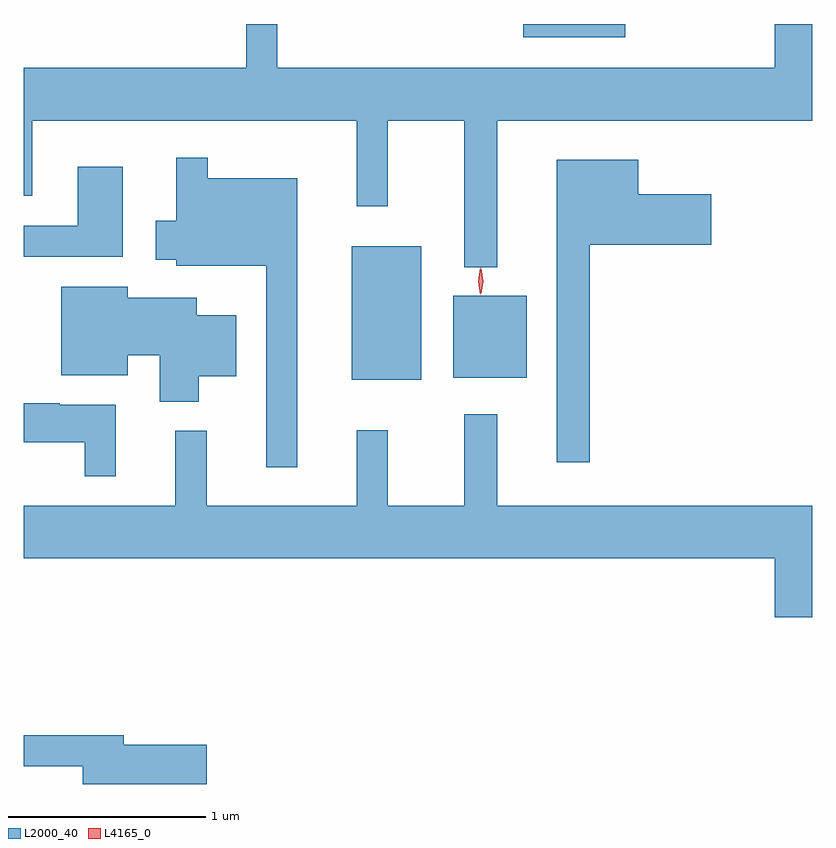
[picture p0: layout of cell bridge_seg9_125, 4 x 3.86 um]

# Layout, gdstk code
import gdstk
lib = gdstk.Library(unit=1e-6, precision=1e-09)
def R(c, l, rs):  # rectangles x0, y0, x1, y1
    for r in rs: c.add(gdstk.rectangle(r[:2], r[2:], *l))
def P(c, l, *ps):  # polygons
    for p in ps: c.add(gdstk.Polygon(p, *l))
L2000_40 = (2000, 40)
L4165_0 = (4165, 0)

bridge_seg9_125 = lib.new_cell('bridge_seg9_125')
R(bridge_seg9_125, L2000_40, [(1351.791,2077.081,1352.144,2077.759), (1352.306,2077.091,1352.679,2077.509), (1352.661,2078.821,1353.178,2078.887)])
P(bridge_seg9_125, L2000_40, [(1352.529,2078.396),(1354.127,2078.396),(1354.127,2078.887),(1353.936,2078.887),(1353.936,2078.664),(1351.414,2078.664),(1351.414,2078.887),(1351.256,2078.887),(1351.256,2078.664),(1350.127,2078.664),(1350.127,2078.016),(1350.169,2078.016),(1350.169,2078.396),(1351.816,2078.396),(1351.816,2077.963),(1351.974,2077.963),(1351.974,2078.396),(1352.361,2078.396),(1352.361,2077.653),(1352.529,2077.653)],
  [(1351.514,2078.104),(1351.059,2078.104),(1351.059,2078.208),(1350.901,2078.208),(1350.901,2077.889),(1350.796,2077.889),(1350.796,2077.691),(1350.901,2077.691),(1350.901,2077.661),(1351.356,2077.661),(1351.356,2076.637),(1351.514,2076.637)],
  [(1352.999,2077.766),(1353.614,2077.766),(1353.614,2078.024),(1353.244,2078.024),(1353.244,2078.199),(1352.831,2078.199),(1352.831,2076.663),(1352.999,2076.663)],
  [(1350.629,2078.164),(1350.401,2078.164),(1350.401,2077.864),(1350.127,2077.864),(1350.127,2077.706),(1350.629,2077.706)],
  [(1351.014,2077.101),(1351.204,2077.101),(1351.204,2077.409),(1351.004,2077.409),(1351.004,2077.499),(1350.654,2077.499),(1350.654,2077.554),(1350.316,2077.554),(1350.316,2077.106),(1350.654,2077.106),(1350.654,2077.206),(1350.816,2077.206),(1350.816,2076.971),(1351.014,2076.971)],
  [(1350.594,2076.954),(1350.31,2076.954),(1350.31,2076.964),(1350.127,2076.964),(1350.127,2076.766),(1350.436,2076.766),(1350.436,2076.593),(1350.594,2076.593)],
  [(1354.127,2076.444),(1352.529,2076.444),(1352.529,2076.908),(1352.361,2076.908),(1352.361,2076.444),(1351.974,2076.444),(1351.974,2076.827),(1351.816,2076.827),(1351.816,2076.444),(1351.054,2076.444),(1351.054,2076.823),(1350.896,2076.823),(1350.896,2076.444),(1350.127,2076.444),(1350.127,2076.176),(1353.936,2076.176),(1353.936,2075.876),(1354.127,2075.876)],
  [(1351.054,2075.229),(1350.634,2075.229),(1350.634,2075.279),(1350.127,2075.279),(1350.127,2075.121),(1350.426,2075.121),(1350.426,2075.031),(1351.054,2075.031)])
P(bridge_seg9_125, L4165_0, [(1352.442,2077.513),(1352.442,2077.514),(1352.432,2077.582),(1352.442,2077.65),(1352.442,2077.65),(1352.443,2077.65),(1352.452,2077.582),(1352.443,2077.514)],
  [(1352.447,2077.518),(1352.447,2077.519),(1352.437,2077.583),(1352.447,2077.647),(1352.447,2077.647),(1352.448,2077.647),(1352.457,2077.583),(1352.448,2077.519)])

lib.write_gds('bridge_seg9_125.gds')
